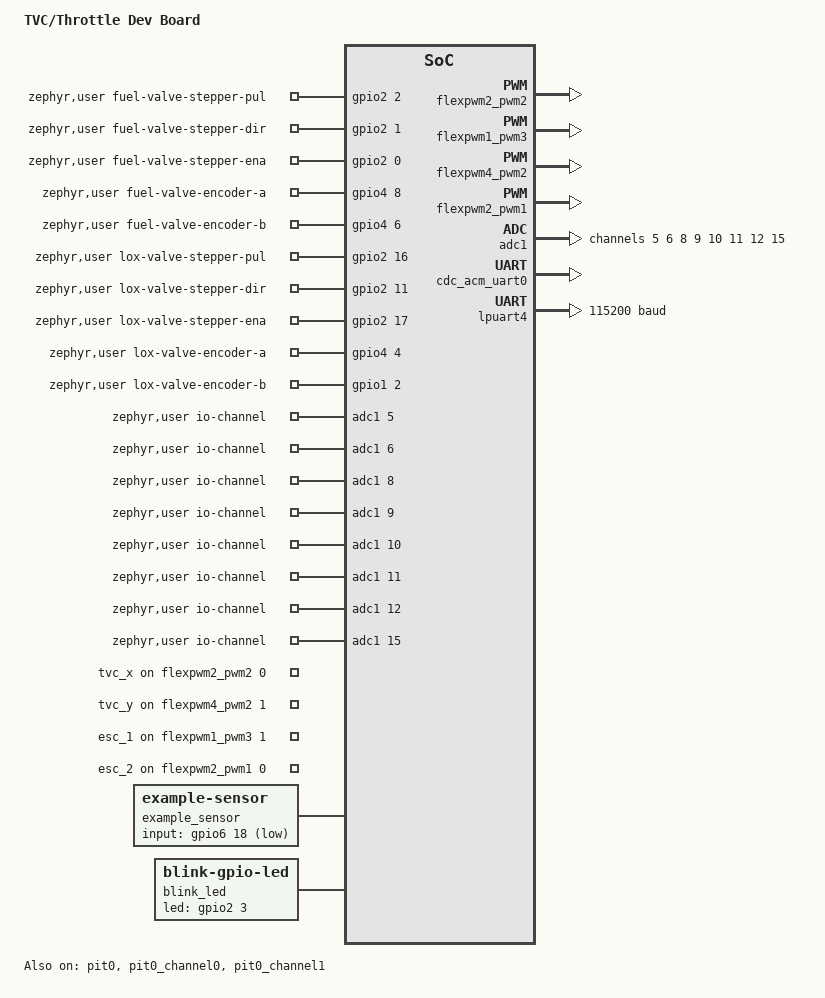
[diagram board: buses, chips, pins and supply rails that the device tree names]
/*
GNC throttle + TVC flows board.
*/

/dts-v1/;

#include <../boards/pjrc/teensy4/teensy41.dts>
#include <zephyr/dt-bindings/pwm/pwm.h>


/ {
    model = "TVC/Throttle Dev Board";

    aliases {
        pt-adc = &adc1;
        fuel-valve-stepper-pulse-counter = &pit0_channel0;
        lox-valve-stepper-pulse-counter = &pit0_channel1;
    };

    zephyr,user {
        fuel-valve-stepper-pul-gpios = <&gpio2 2 GPIO_ACTIVE_HIGH>; // Pin 11
        fuel-valve-stepper-dir-gpios = <&gpio2 1 GPIO_ACTIVE_HIGH>; // Pin 12
        fuel-valve-stepper-ena-gpios = <&gpio2 0 GPIO_ACTIVE_HIGH>; // Pin 10
        fuel-valve-encoder-a-gpios = <&gpio4 8 GPIO_ACTIVE_HIGH>; // Pin 5
        fuel-valve-encoder-b-gpios = <&gpio4 6 GPIO_ACTIVE_HIGH>; // Pin 4

        lox-valve-stepper-pul-gpios = <&gpio2 16 GPIO_ACTIVE_HIGH>; // Pin 8
        lox-valve-stepper-dir-gpios = <&gpio2 11 GPIO_ACTIVE_HIGH>; // Pin 9
        lox-valve-stepper-ena-gpios = <&gpio2 17 GPIO_ACTIVE_HIGH>; // Pin 7
        lox-valve-encoder-a-gpios = <&gpio4 4 GPIO_ACTIVE_HIGH>; // Pin 2
        lox-valve-encoder-b-gpios = <&gpio1 2 GPIO_ACTIVE_HIGH>; // Pin 1


        pwms = <&flexpwm2_pwm2 0 PWM_MSEC(20) PWM_POLARITY_NORMAL>, /* tvc_x -> pin 6 (A) */
               <&flexpwm4_pwm2 1 PWM_MSEC(20) PWM_POLARITY_NORMAL>, /* tvc_y -> pin 3 (B) */
               <&flexpwm1_pwm3 1 PWM_MSEC(20) PWM_POLARITY_NORMAL>, /* esc_1 -> pin 7 (B) */
               <&flexpwm2_pwm1 0 PWM_MSEC(20) PWM_POLARITY_NORMAL>; /* esc_2 -> pin 5 (A) */

        pwm-names = "tvc_x", "tvc_y", "esc_1", "esc_2";

        servo-min-pulse-us = <1000>;
        servo-max-pulse-us = <2000>;

        // HACK: For whatever reason the io-channels may be getting auto-sorted? Thus, we order our pt labels
        // corresponding to the sorted ascending order of ADC1 channels.
        // PT102 - PT1 - Pin 40 - A16 - adc1 9
        // PT103 - PT2 - Pin 41 - A17 - adc1 10
        // PT202 - PT4 - Pin 15 - A1 - adc1 8
        // PT203 - PT5 - Pin 16 - A2 - adc1 12
        // PTF401 - PT6 - Pin 17 - A3 - adc1 11
        // PTO401 - PT7 - Pin 18 - A4 - adc1 6
        // PTC401 - PT8 - Pin 19 - A5 - adc1 5
        // PTC402 - PT9 - Pin 20 - A6 - adc1 15
        pt-names = "ptc401", "pto401", "pt202", "pt102", "pt103", "ptf401", "pt203", "ptc402";
        io-channels = <&adc1 5>, <&adc1 6>, <&adc1 8>, <&adc1 9>, <&adc1 10>, <&adc1 11>, <&adc1 12>, <&adc1 15>;
    };

    chosen {
        zephyr,console = &cdc_acm_uart0;
    };

    example_sensor: example-sensor {
        compatible = "zephyr,example-sensor";
        input-gpios = <&gpio6 18 (GPIO_PULL_UP | GPIO_ACTIVE_LOW)>;
    };

    blink_led: blink-led {
        compatible = "blink-gpio-led";
        led-gpios = <&gpio2 3 GPIO_ACTIVE_HIGH>;
        blink-period-ms = <1000>;
    };
};

// docs: https://www.pjrc.com/store/teensy41.html
/* Module 2, submodule 2 -> pins 6 (A) and 9 (B) */
/* tvc_x on pin 6 (A of FlexPWM2 submodule 2) */
&flexpwm2_pwm2 {
    pinctrl-names = "default";
    pinctrl-0 = <&pwm2_2_a_b0_10>;
    status = "okay";
};


/* esc_1 on pin 7 (A of FlexPWM1 submodule 3) */
&flexpwm1_pwm3 {
    pinctrl-names = "default";
    pinctrl-0 = <&pwm1_3_b_b1_01>;
    status = "okay";
};

/* tvc_y on pin 3 (B of FlexPWM4 submodule 2) */
&flexpwm4_pwm2 {
    pinctrl-names = "default";
    pinctrl-0 = <&pwm4_2_b_emc_05>;
    status = "okay";
};


/* esc_2 on pin 5 (A of FlexPWM2 submodule 1) */
&flexpwm2_pwm1 {
    pinctrl-names = "default";
    pinctrl-0 = <&pwm2_1_a_emc_08>;
    status = "okay";
};

// Docs: https://docs.zephyrproject.org/latest/build/dts/api/bindings/pinctrl/nxp%2Cmcux-rt-pinctrl.html
&pinctrl {
    pinmux_adc1: pinmux_adc1 {
        group0 {
            pinmux = <&iomuxc_gpio_ad_b1_04_gpio1_io20>,
                     <&iomuxc_gpio_ad_b1_05_gpio1_io21>,
                     <&iomuxc_gpio_ad_b1_03_gpio1_io19>,
                     <&iomuxc_gpio_ad_b1_07_gpio1_io23>,
                     <&iomuxc_gpio_ad_b1_06_gpio1_io22>,
                     <&iomuxc_gpio_ad_b1_00_gpio1_io16>,
                     <&iomuxc_gpio_ad_b1_01_gpio1_io17>,
                     <&iomuxc_gpio_ad_b1_10_gpio1_io26>;
            bias-disable; // These should be pulled down by voltage divider
            drive-strength = "r0-6";
            slew-rate = "slow";
            nxp,speed = "100-mhz";
        };
    };


    /* Teensy 4.1 pin 6 -> GPIO_B0_10 -> FLEXPWM2_PWMA02 */
    pwm2_2_a_b0_10: pwm2_2_a_b0_10 {
        group0 {
            pinmux = <&iomuxc_gpio_b0_10_flexpwm2_pwma2>;
            bias-disable;
            drive-strength = "r0-6";
            slew-rate = "slow";
            nxp,speed = "100-mhz";
        };
    };

    /* pin 3 : GPIO_EMC_05 -> FLEXPWM4_PWMB02 */
    pwm4_2_b_emc_05: pwm4_2_b_emc_05 {
        group0 {
            pinmux = <&iomuxc_gpio_emc_05_flexpwm4_pwmb2>;
            bias-disable;
            drive-strength = "r0-6";
            nxp,speed = "100-mhz";
            slew-rate = "slow";
        };
    };

    /* pin 5 : GPIO_EMC_08 -> FLEXPWM2_PWMA01 */
    pwm2_1_a_emc_08: pwm2_1_a_emc_08 {
        group0 {
            pinmux = <&iomuxc_gpio_emc_08_flexpwm2_pwma1>;
            bias-disable;
            drive-strength = "r0-6";
            nxp,speed = "100-mhz";
            slew-rate = "slow";
        };
    };

    //	/* Teensy 4.1 pin 9-> GPIO_B1_01 -> FLEXPWM1_PWMB03 */
    //	pwm2_2_b_b0_11: pwm2_2_b_b0_11 {
    //		group0 {
    //			pinmux = <&iomuxc_gpio_b0_11_flexpwm2_pwmb2>;
    //			bias-disable;
    //			drive-strength = "r0-6";
    //			slew-rate = "slow";
    //			nxp,speed = "100-mhz";
    //		};
    //	};

    /* pin 7 : GPIO_B1_01 -> FLEXPWM1_PWMb03 */
    pwm1_3_b_b1_01: pwm1_3_b_b1_01 {
        group0 {
            pinmux = <&iomuxc_gpio_b1_01_flexpwm1_pwmb3>;
            bias-disable;
            drive-strength = "r0-6";
            nxp,speed = "100-mhz";
            slew-rate = "slow";
        };
    };
};

// Docs: https://docs.zephyrproject.org/latest/build/dts/api/bindings/adc/nxp%2Cmcux-12b1msps-sar.html
pt_adc: &adc1 {
    // She's broken, he's...
    status = "okay";
    pinctrl-0 = <&pinmux_adc1>;
    pinctrl-names = "default";
    #address-cells = <1>;
    #size-cells = <0>;

    channel@5 {
        reg = <0x5>;
        zephyr,gain = "ADC_GAIN_1";
        zephyr,reference = "ADC_REF_INTERNAL";
        zephyr,acquisition-time = <ADC_ACQ_TIME_DEFAULT>;
        zephyr,resolution = <12>; // Max for chip
        zephyr,oversampling = <5>; // 32x averaging
    };

    channel@6 {
        reg = <0x6>;
        zephyr,gain = "ADC_GAIN_1";
        zephyr,reference = "ADC_REF_INTERNAL";
        zephyr,acquisition-time = <ADC_ACQ_TIME_DEFAULT>;
        zephyr,resolution = <12>; // Max for chip
        zephyr,oversampling = <5>; // 32x averaging
    };

    channel@8 {
        reg = <0x8>;
        zephyr,gain = "ADC_GAIN_1";
        zephyr,reference = "ADC_REF_INTERNAL";
        zephyr,acquisition-time = <ADC_ACQ_TIME_DEFAULT>;
        zephyr,resolution = <12>; // Max for chip
        zephyr,oversampling = <5>; // 32x averaging
    };

    channel@9 {
        reg = <0x9>;
        zephyr,gain = "ADC_GAIN_1";
        zephyr,reference = "ADC_REF_INTERNAL";
        zephyr,acquisition-time = <ADC_ACQ_TIME_DEFAULT>;
        zephyr,resolution = <12>; // Max for chip
        zephyr,oversampling = <5>; // 32x averaging
    };

    channel@a {
        reg = <0xa>;
        zephyr,gain = "ADC_GAIN_1";
        zephyr,reference = "ADC_REF_INTERNAL";
        zephyr,acquisition-time = <ADC_ACQ_TIME_DEFAULT>;
        zephyr,resolution = <12>; // Max for chip
        zephyr,oversampling = <5>; // 32x averaging
    };

    channel@b {
        reg = <0xb>;
        zephyr,gain = "ADC_GAIN_1";
        zephyr,reference = "ADC_REF_INTERNAL";
        zephyr,acquisition-time = <ADC_ACQ_TIME_DEFAULT>;
        zephyr,resolution = <12>; // Max for chip
        zephyr,oversampling = <5>; // 32x averaging
    };

    channel@c {
        reg = <0xc>;
        zephyr,gain = "ADC_GAIN_1";
        zephyr,reference = "ADC_REF_INTERNAL";
        zephyr,acquisition-time = <ADC_ACQ_TIME_DEFAULT>;
        zephyr,resolution = <12>; // Max for chip
        zephyr,oversampling = <5>; // 32x averaging
    };

    channel@f {
        reg = <0xf>;
        zephyr,gain = "ADC_GAIN_1";
        zephyr,reference = "ADC_REF_INTERNAL";
        zephyr,acquisition-time = <ADC_ACQ_TIME_DEFAULT>;
        zephyr,resolution = <12>; // Max for chip
        zephyr,oversampling = <5>; // 32x averaging
    };
};

// Timer for stepper pulses.
// Docs: https://docs.zephyrproject.org/latest/build/dts/api/bindings/counter/nxp%2Cpit.html
// Teensyduino equivalent: https://sourcegraph.com/github.com/PaulStoffregen/cores/-/blob/teensy4/IntervalTimer.cpp
&pit0 {
    status = "okay";
};

&pit0_channel0 {
    status = "okay";
};

&pit0_channel1 {
    status = "okay";
};

&zephyr_udc0 {
    cdc_acm_uart0: cdc_acm_uart0 {
        compatible = "zephyr,cdc-acm-uart";
        label = "CDC_ACM_0";
    };
};

&lpuart6 {
    status = "disabled";
};

&lpuart4 {
    status = "okay";
    current-speed = <115200>;
};
